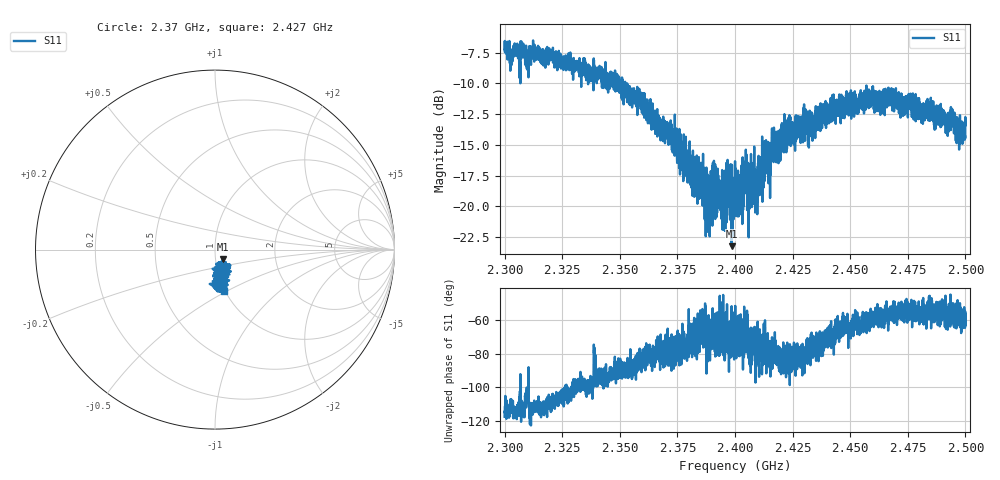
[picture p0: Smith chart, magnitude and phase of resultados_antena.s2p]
! PocketVna 1.33  pocketvna.com
! Live measurements ((Reflection-S11) Linear 2299999999-2500000000/5000 calibrated)
# Hz S RI R 50
! Hz  ReS11  ImS11  ReS21  ImS21  ReS12  ImS12  ReS22  ImS22
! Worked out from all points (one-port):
!   5000 points, 2.3 GHz to 2.5 GHz, reference 50 ohm
!   lowest |S11| = -23.3 dB at 2.399 GHz (marker M1), VSWR 1.15, Z = 54.1 - j5.88 ohm
!   |S11| at or under -10 dB: 2.35118 GHz to 2.352286 GHz (1.106 MHz wide, 0.047 % of centre); 2.352298 GHz to 2.353211 GHz (912.8 kHz wide, 0.0388 % of centre); 2.353 GHz to end of sweep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
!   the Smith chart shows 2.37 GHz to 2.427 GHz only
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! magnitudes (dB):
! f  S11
! 2.3 GHz  -7.2
! 2.333 GHz  -8.7
! 2.348 GHz  -9.6
! 2.367 GHz  -13.3
! 2.375 GHz  -16.3
! 2.381 GHz  -17.3
! 2.386 GHz  -18.6
! 2.388 GHz  -19.3
! 2.391 GHz  -16.3
! 2.395 GHz  -19.2
! 2.399 GHz  -23.3
! 2.4 GHz  -16.3
! 2.402 GHz  -19.5
! 2.404 GHz  -17.5
! 2.406 GHz  -19.1
! 2.409 GHz  -17.3
! 2.413 GHz  -14.6
! 2.421 GHz  -13.4
! 2.433 GHz  -13.1
! 2.442 GHz  -11.0
! 2.467 GHz  -10.8
! 2.5 GHz  -13.4
